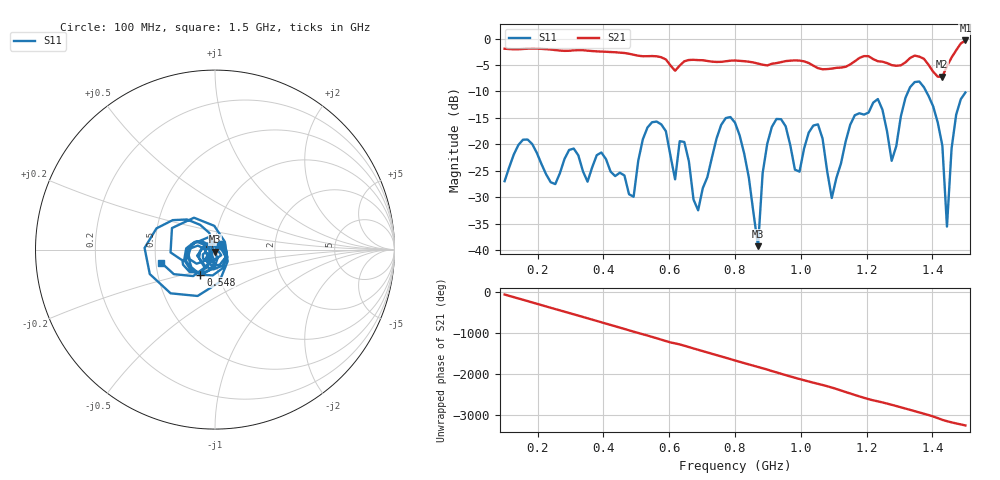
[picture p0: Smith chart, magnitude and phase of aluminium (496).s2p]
! NanoVNA-App
! Date: 2025-09-25 14:59:08
! Start: 100MHz Stop: 1,5GHz Points: 101
! S-Parameter data: F S11 S21 S12 S22
# Hz S RI R 50
!  Frequency  S11_Real  S11_Imag  S21_Real  S21_Imag  S12_Real  S12_Imag  S22_Real  S22_Imag
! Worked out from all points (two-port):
!   101 points, 100 MHz to 1.5 GHz, reference 50 ohm
!   highest |S21| = -0.36 dB at 1.5 GHz (marker M1); lowest = -7.2 dB at 1.43 GHz (marker M2)
!   |S21| within 3 dB of the highest: start of sweep to 562.6 MHz; 1.46 GHz to end of sweep (the widest 2 of 4)
!   lowest |S11| = -39.2 dB at 870 MHz (marker M3), VSWR 1.02, Z = 50.1 - j1.09 ohm
!   |S11| at or under -10 dB: start of sweep to 1.326 GHz; 1.381 GHz to end of sweep
!   S12 and S22 are empty: the file has one direction only
!   S11 on the Smith chart (normalised r, x): 100 MHz: 1.07, +0.06; 548 MHz: 0.82, -0.24; 1.5 GHz: 0.53, -0.08
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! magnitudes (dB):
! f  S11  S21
! 100 MHz  -27.0  -1.9
! 156 MHz  -19.1  -2.0
! 338 MHz  -25.1  -2.2
! 492 MHz  -29.9  -3.1
! 548 MHz  -15.8  -3.3
! 576 MHz  -16.2  -3.5
! 618 MHz  -26.6  -6.1
! 646 MHz  -19.5  -4.3
! 688 MHz  -32.5  -4.1
! 800 MHz  -15.9  -4.1
! 870 MHz  -39.2  -4.7
! 912 MHz  -16.7  -4.8
! 996 MHz  -25.2  -4.2
! 1.038 GHz  -16.4  -5.1
! 1.094 GHz  -30.1  -5.7
! 1.234 GHz  -11.4  -4.3
! 1.276 GHz  -23.1  -5.0
! 1.346 GHz  -8.2  -3.2
! 1.43 GHz  -20.2  -7.2
! 1.444 GHz  -35.5  -5.2
! 1.472 GHz  -14.4  -2.2
! 1.5 GHz  -10.2  -0.4
